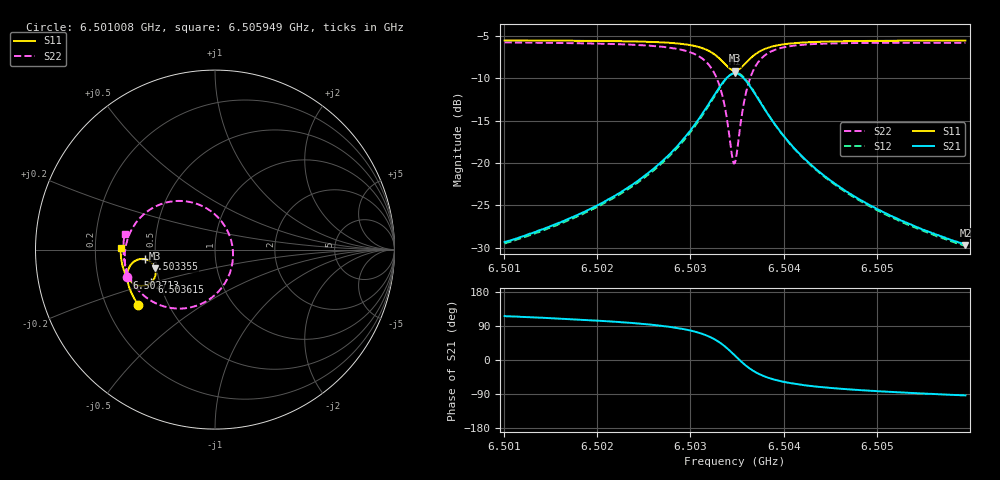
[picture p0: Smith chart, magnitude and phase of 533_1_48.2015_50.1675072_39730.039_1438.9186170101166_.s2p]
#  HZ  S  RI  R  50.00
! Rohde & Schwarz Vector Network Analyzer
! Rohde-Schwarz,ZNB20-2Port,1311601062101988,3.16
! Created: UTC 3/20/2024, 11:59:57 AM
! freq[Hz]  re:S11  im:S11  re:S21  im:S21  re:S12  im:S12  re:S22  im:S22
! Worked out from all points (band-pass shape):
!   401 points, 6.501008 GHz to 6.505949 GHz, reference 50 ohm
!   highest |S21| = -9.45 dB at 6.503479 GHz (marker M1); lowest = -29.7 dB at 6.505949 GHz (marker M2)
!   |S21| within 3 dB of the highest: 6.503232 GHz to 6.503726 GHz (494.6 kHz wide, 0.00761 % of centre)
!   lowest |S11| = -9.1 dB at 6.503479 GHz (marker M3), VSWR 2.07, Z = 24.5 - j5.86 ohm
!   |S11| at or under -10 dB: nowhere
!   |S22| runs from -20.1 to -5.8 dB; largest |S21 - S12| = 0.011
!   S11 on the Smith chart (normalised r, x): 6.501008 GHz: 0.34, -0.29; 6.502713 GHz: 0.33, -0.14; 6.503355 GHz: 0.44, -0.06; 6.503615 GHz: 0.45, -0.19; 6.505949 GHz: 0.31, +0.01
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6.5010085e9  -0.4287 -0.3067  -0.0149 0.0307  -0.0131 0.0308  -0.4908 -0.1502
6.501836e9  -0.464 -0.2449  -0.0141 0.0487  -0.0118 0.0482  -0.5033 -0.0615
6.5022559e9  -0.4787 -0.2077  -0.0113 0.0664  -0.00867 0.0653  -0.5005 -0.00186
6.5026635e9  -0.4883 -0.1625  -0.00177 0.0983  0.00166 0.096  -0.4795 0.0798
6.5027129e9  -0.4889 -0.1559  0.000697 0.1041  0.00425 0.1016  -0.4741 0.0925
6.5029476e9  -0.4856 -0.1192  0.0233 0.1408  0.0268 0.1367  -0.4269 0.1664
6.5031081e9  -0.471 -0.087  0.0623 0.1768  0.065 0.1711  -0.3509 0.23
6.5032563e9  -0.4337 -0.0571  0.1436 0.2054  0.1441 0.1997  -0.2033 0.2712
6.5033551e9  -0.3874 -0.0542  0.2345 0.1893  0.2344 0.185  -0.0459 0.2292
6.5034416e9  -0.3446 -0.0828  0.3125 0.1154  0.315 0.1117  0.0789 0.0839
6.5034663e9  -0.3365 -0.0969  0.3261 0.0837  0.3294 0.0795  0.0961 0.0243
6.5034787e9  -0.3335 -0.1048  0.3303 0.067  0.3341 0.062  0.0999 -0.00689
6.5035034e9  -0.3306 -0.1209  0.3341 0.0325  0.338 0.0263  0.0978 -0.0699
6.5035404e9  -0.3327 -0.1449  0.3269 -0.0176  0.3305 -0.0258  0.0711 -0.1585
6.5036145e9  -0.3546 -0.1819  0.2807 -0.0937  0.281 -0.1047  -0.0378 -0.2814
6.5037257e9  -0.4 -0.2018  0.1941 -0.1392  0.1893 -0.1487  -0.2131 -0.3284
6.5038862e9  -0.4472 -0.1925  0.1105 -0.1358  0.1037 -0.1408  -0.3638 -0.2804
6.5040591e9  -0.4753 -0.1711  0.0652 -0.1146  0.059 -0.1172  -0.4372 -0.2141
6.5043062e9  -0.4962 -0.1414  0.0346 -0.0899  0.0299 -0.0904  -0.4814 -0.1409
6.504689e9  -0.5122 -0.101  0.0148 -0.0655  0.0116 -0.065  -0.5045 -0.0634
6.5051337e9  -0.5213 -0.0596  0.00512 -0.049  0.00297 -0.0484  -0.5104 0.000214
6.5059488e9  -0.5265 0.0098  -0.00196 -0.0328  -0.00326 -0.0321  -0.5031 0.0875
